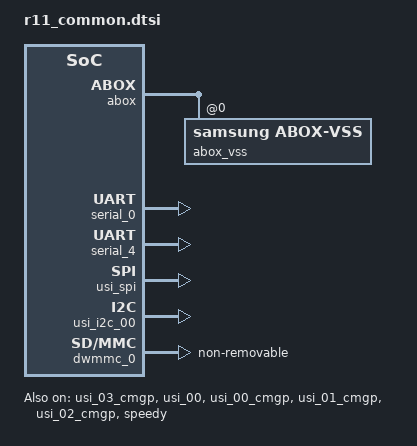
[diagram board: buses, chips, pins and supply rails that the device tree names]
/*
 * Google R11 common DTSI file
 *
 * Copyright 2020 Google LLC
 *
 * This program is free software; you can redistribute it and/or modify
 * it under the terms of the GNU General Public License version 2 and
 * only version 2 as published by the Free Software Foundation.
 *
 * This program is distributed in the hope that it will be useful,
 * but WITHOUT ANY WARRANTY; without even the implied warranty of
 * MERCHANTABILITY or FITNESS FOR A PARTICULAR PURPOSE.  See the
 * GNU General Public License for more details.
 */

#include <dt-bindings/input/input.h>

&abox {
	/* Enable vss again */
	#address-cells = <2>;
	#size-cells = <1>;
	samsung,abox-bootargs = "init=ab0x vss=1 offload=1";
	abox_vss@0 {
		compatible = "samsung,abox-vss";
		magic_offset = <0x300000>;
		reg = <0x0 0x0 0x0>;
	};
};

&serial_0 {
	status = "okay";
};

&serial_4 {
	status = "okay";
};

&uart4_bus_single  {
	samsung,pins = "gpm12-0", "gpm13-0";
};

/* uart4 */
&usi_03_cmgp {
	usi_v2_mode = "uart";
	status = "okay";
};

/* uart5 */
&usi_00 {
	usi_v2_mode = "uart";
	status = "ok";
};

/* spi0 */
&usi_00_cmgp {
	usi_v2_mode = "spi";
	status = "ok";
};

/* spi1 */
&usi_01_cmgp {
	usi_v2_mode = "spi";
	status = "ok";
};

/* spi4 */
&usi_spi {
	usi_v2_mode = "spi";
	status = "ok";
};

/* hsi2c4 */
&usi_02_cmgp {
	usi_v2_mode = "i2c";
	status = "ok";
};

/* hsi2c8 */
&usi_i2c_00 {
	usi_v2_mode = "i2c";
	status = "ok";
};

&pinctrl_0 {
	pmic_irq: pmic-irq {
		samsung,pins = "gpa0-0";
		samsung,pin-pud = <3>;
		samsung,pin-drv = <3>;
	};
};

&pinctrl_1 {
	key_sidebutton: key-sidebutton {
		samsung,pins = "gpm22-0";
		samsung,pin-function = <0xf>;
		samsung,pin-pud = <0x3>;
	};
};

&hsi2c4_bus {
	samsung,pin-pud-pdn = <0>;
};

&i2c3_bus {
	samsung,pin-pud-pdn = <0>;
};

&sd0_cmd {
	samsung,pin-pud-pdn = <0>;
};

&sd0_hwrst {
	samsung,pin-pud-pdn = <0>;
};

&i2c0_bus {
	samsung,pin-pud-pdn = <0>;
};

&i2c1_bus {
	samsung,pin-pud-pdn = <0>;
};

&i2c2_bus {
	samsung,pin-pud-pdn = <0>;
};

&hsi2c8_bus {
	samsung,pin-pud-pdn = <0>;
};

&pinctrl_5 {
	pm_wrsti: pm_wrsti {
		samsung,pins = "gpg7-1";
		samsung,pin-function = <0x1>;
		samsung,pin-pud = <0>;
		samsung,pin-con-pdn = <3>;
		samsung,pin-pud-pdn = <0>;
	};
};

&cpufreq_domain0 {
	min-freq = <449000>;

	dm-constraints {
		mif-perf {
			/*  cpu     mif  */
			table = < 1144000 1539000
				  1099000 1539000
				  1014000 1352000
				   904000 1014000
				   839000 1014000
				   754000 1014000
				   676000  676000
				   598000  676000
				   449000  676000
				   299000       0
				   208000       0
				   >;
		};
	};
};

&speedy {
	#address-cells = <1>;
	#size-cells = <0>;
	status = "okay";
	/*
	* The document S2MPW02X02_Data Sheet_6030_ALL_REV 1.2.pdf justifies the
	* below parameters. You can find it here:
	* https://drive.google.com/corp/drive/u/0/folders/1oJWggugDl7EeUM3SbeKJ1Y6b1tvxxeSs
	*/
	audio_codec_cod9005x: cod9005x@03 {
		#sound-dai-cells = <0>;
		compatible = "codec,cod9005x";
		/* 0x03 was copied from the DT of the reference platform. It should be
		   the same for r11, because the whole PMIC block is the same. */
		reg = <0x03>;
		i2c-speedy-address;
		/* section "3.7 CODEC" of the S2MPW02X02 datasheet specifies that LDO 27
		   is used to control the Mic. */
		vdd-supply = <&ldo27_reg>;
		pinctrl-names = "default";
		/* r10 used voltage 1.8 for the Mic. Same Mic is used in r11, so
		   the same voltage should be used.
		   The S2MPW02X02 datasheet, page 147, contains:
		   "Table 26  Voltage Table for (P) LDO 2, 4, 13, 17, 18, 21, 24, 26, 27".
		   The table points out that 0x2C value corresponds to 1.8 voltage level.
		*/
		mic-bias-ldo-voltage = <0x2C>;
		/* Consider to set avc-slope-param1/2 to non default values if
		   the codec doesn't work. */
	};
	s2mpw02mfd@00 {
		compatible = "samsung,s2mpw02mfd";
		acpm-ipc-channel = <2>;
		i2c-speedy-address;
		s2mpw02,wakeup = "enabled";
		s2mpw02,irq-gpio = <&gpa0 0 0>;
		reg = <0x00>;
		interrupts = <0 0 0>;
		interrupt-parent = <&gpa0>;
		pinctrl-names = "default";
		pinctrl-0 = <&pmic_irq &pm_wrsti>;
		/* RTC: wtsr/smpl */
		wtsr_en = "enabled"; /* watchdog timer software reset: enable */
		smpl_en = "enabled"; /* sudden momentery power loss: enable */
		wtsr_timer_val = <3>; /* 1000ms */
		smpl_timer_val = <4>; /* 500ms */
		check_jigon = <0>; /* do not check jigon */
		/* RTC: If it's first boot, reset rtc to 1/1/2018 12:00:00(Wed) */
		init_time,sec = <0>;
		init_time,min = <0>;
		init_time,hour = <12>;
		init_time,mday = <1>;
		init_time,mon = <0>;
		init_time,year = <118>;
		init_time,wday = <1>;
		s2mpw02-keys {
			button@1 {
				label = "pmic-keys: KEY_POWER";
				linux,code = <KEY_POWER>;
				wakeup = <1>;
			};
		};

		s2mpw02-charger {
			battery,charger_name = "s2mpw02-charger";
			battery,chg_float_voltage = <4200>;
		};

		s2mpw02-fuelgauge {
			fuelgauge,fuel_int = <&gpa0 4 0>;
			/* SoC at which fuelgauge sends irq */
			fuelgauge,fuel_alert_soc = <1>;
			/* Scale capacity units to 0.1% */
			fuelgauge,capacity_max = <1000>;
			fuelgauge,capacity_max_margin = <70>;
			fuelgauge,capacity_min = <0>;
			/* ATOMIC */
			fuelgauge,capacity_calculation_type = <0x8>;
		};

		regulators: regulators {
			buck1_reg: BUCK1 {
				regulator-name = "vdd_soc";
				regulator-min-microvolt = <500000>;
				regulator-max-microvolt = <1200000>;
				regulator-always-on;
				regulator-boot-on;
				regulator-ramp-delay = <12000>;
				regulator-initial-mode = <1>;
			};
			buck2_reg: BUCK2 {
				regulator-name = "vdd_lldo";
				regulator-min-microvolt = <800000>;
				regulator-max-microvolt = <1500000>;
				regulator-always-on;
				regulator-boot-on;
				regulator-ramp-delay = <12000>;
				regulator-initial-mode = <3>;
			};
			buck3_reg: BUCK3 {
				regulator-name = "vdd_mldo";
				regulator-min-microvolt = <1800000>;
				regulator-max-microvolt = <2100000>;
				regulator-always-on;
				regulator-boot-on;
				regulator-ramp-delay = <12000>;
				regulator-initial-mode = <3>;
			};
			bst1_reg: BST1 {
				regulator-name = "vdd_hrm";
				regulator-min-microvolt = <4900000>;
				regulator-max-microvolt = <4900000>;
			};
			bst2_reg: BST2 {
				regulator-name = "vdd_codec";
				regulator-min-microvolt = <4900000>;
				regulator-max-microvolt = <5100000>;
			};
			ldo1_reg: LDO1 {
				regulator-name = "vdd_ldo1";
				regulator-min-microvolt = <700000>;
				regulator-max-microvolt = <1300000>;
				regulator-always-on;
				regulator-boot-on;
				regulator-ramp-delay = <12000>;
				regulator-initial-mode = <3>;
			};
			ldo2_reg: LDO2 {
				regulator-name = "vdd_ldo2";
				regulator-min-microvolt = <700000>;
				regulator-max-microvolt = <1950000>;
				regulator-always-on;
				regulator-boot-on;
				regulator-ramp-delay = <12000>;
				regulator-initial-mode = <3>;
			};
			ldo3_reg: LDO3 {
				regulator-name = "vdd_ldo3";
				regulator-min-microvolt = <700000>;
				regulator-max-microvolt = <1300000>;
				regulator-always-on;
				regulator-boot-on;
				regulator-ramp-delay = <12000>;
				regulator-initial-mode = <1>;
			};
			ldo4_reg: LDO4 {
				regulator-name = "vdd_ldo4";
				regulator-min-microvolt = <700000>;
				regulator-max-microvolt = <1950000>;
				regulator-always-on;
				regulator-boot-on;
				regulator-ramp-delay = <12000>;
				regulator-initial-mode = <1>;
			};
			ldo5_reg: LDO5 {
				regulator-name = "vdd_ldo5";
				regulator-min-microvolt = <700000>;
				regulator-max-microvolt = <1300000>;
				regulator-always-on;
				regulator-boot-on;
				regulator-ramp-delay = <12000>;
				regulator-initial-mode = <3>;
			};
			ldo6_reg: LDO6 {
				regulator-name = "vdd_ldo6";
				regulator-min-microvolt = <500000>;
				regulator-max-microvolt = <1287500>;
				regulator-always-on;
				regulator-boot-on;
				regulator-ramp-delay = <12000>;
				regulator-initial-mode = <1>;
			};
			ldo7_reg: LDO7 {
				regulator-name = "vdd_ldo7";
				regulator-min-microvolt = <700000>;
				regulator-max-microvolt = <1300000>;
				regulator-always-on;
				regulator-boot-on;
				regulator-ramp-delay = <12000>;
				regulator-initial-mode = <1>;
			};
			ldo8_reg: LDO8 {
				regulator-name = "vdd_ldo8";
				regulator-min-microvolt = <500000>;
				regulator-max-microvolt = <1300000>;
				regulator-always-on;
				regulator-boot-on;
				regulator-ramp-delay = <12000>;
				regulator-initial-mode = <1>;
			};
			ldo9_reg: LDO9 {
				regulator-name = "vdd_ldo9";
				regulator-min-microvolt = <700000>;
				regulator-max-microvolt = <1300000>;
				regulator-ramp-delay = <12000>;
				regulator-initial-mode = <1>;
			};
			ldo10_reg: LDO10 {
				regulator-name = "vdd_ldo10";
				regulator-min-microvolt = <3300000>;
				regulator-max-microvolt = <3300000>;
				regulator-always-on;
				regulator-boot-on;
				regulator-ramp-delay = <12000>;
				regulator-initial-mode = <1>;
			};
			ldo15_reg: LDO15 {
				regulator-name = "vdd_ldo15";
				regulator-min-microvolt = <700000>;
				regulator-max-microvolt = <1300000>;
				regulator-ramp-delay = <12000>;
				regulator-initial-mode = <0>;
			};
			ldo16_reg: LDO16 {
				regulator-name = "vdd_ldo16";
				regulator-min-microvolt = <2450000>;
				regulator-max-microvolt = <2450000>;
				regulator-always-on;
				regulator-ramp-delay = <12000>;
				regulator-initial-mode = <3>;
			};
			ldo18_reg: LDO18 {
				regulator-name = "vemmc";
				regulator-min-microvolt = <800000>;
				regulator-max-microvolt = <1950000>;
				regulator-ramp-delay = <12000>;
				regulator-always-on;
				regulator-boot-on;
				regulator-initial-mode = <1>;
			};
			ldo19_reg: LDO19 {
				regulator-name = "vqemmc";
				regulator-min-microvolt = <1800000>;
				regulator-max-microvolt = <3375000>;
				regulator-ramp-delay = <12000>;
				regulator-always-on;
				regulator-boot-on;
				regulator-initial-mode = <1>;
			};
			ldo20_reg: LDO20 {
				regulator-name = "vdd_ldo20";
				regulator-min-microvolt = <1800000>;
				regulator-max-microvolt = <3375000>;
				regulator-ramp-delay = <12000>;
				regulator-initial-mode = <3>;
			};
			ldo21_reg: LDO21 {
				regulator-name = "vdd_ldo21";
				regulator-min-microvolt = <700000>;
				regulator-max-microvolt = <1950000>;
				regulator-ramp-delay = <12000>;
				regulator-initial-mode = <3>;
			};
			ldo22_reg: LDO22 {
				regulator-name = "vdd_ldo22";
				regulator-min-microvolt = <1800000>;
				regulator-max-microvolt = <3375000>;
				regulator-ramp-delay = <12000>;
				regulator-initial-mode = <0>;
			};
			ldo25_reg: LDO25 {
				regulator-name = "vdd_ldo25";
				regulator-min-microvolt = <1800000>;
				regulator-max-microvolt = <3375000>;
				regulator-boot-on;
				regulator-always-on;
				regulator-ramp-delay = <12000>;
				regulator-initial-mode = <3>;
			};
			ldo27_reg: LDO27 {
				regulator-name = "vdd_ldo27";
				regulator-min-microvolt = <700000>;
				regulator-max-microvolt = <1950000>;
				regulator-ramp-delay = <12000>;
			};
			ldo28_reg: LDO28 {
				regulator-name = "vdd_ldo28";
				regulator-min-microvolt = <700000>;
				regulator-max-microvolt = <1300000>;
				regulator-ramp-delay = <12000>;
				regulator-initial-mode = <0>;
			};
			ldo29_reg: LDO29 {
				regulator-name = "vdd_ldo29";
				regulator-min-microvolt = <1800000>;
				regulator-max-microvolt = <3375000>;
				regulator-ramp-delay = <12000>;
				regulator-initial-mode = <0>;
			};
			ldo30_reg: LDO30 {
				regulator-name = "vdd_ldo30";
				regulator-min-microvolt = <700000>;
				regulator-max-microvolt = <1300000>;
				regulator-ramp-delay = <12000>;
				regulator-initial-mode = <0>;
			};
		};
	};
};

/* dwmmc_0 was copied from the DT of the reference platform. It should be
	 mostly the same for r11. */
&dwmmc_0 {
	#address-cells = <1>;
	#size-cells = <0>;
	status = "okay";
	num-slots = <1>;
	broken-cd;
	fixed_voltage;
	supports-highspeed;
	mmc-ddr-1_8v;
	mmc-hs200-1_8v;
	mmc-hs400-1_8v;
	mmc-hs400-enhanced-strobe;
	supports-8bit;
	supports-cmd23;
	supports-erase;
	card-init-hwacg-ctrl;
	enable-ulp-mode;
	emmc-pwr-suspend = <1>;
	emmc-dis-charge-time = <30>;
	fifo-depth = <0x40>;
	non-removable;
	desc-size = <4>;
	card-detect-delay = <200>;
	data-timeout = <200>;
	hto-timeout = <80>;
	samsung,dw-mshc-ciu-div = <3>;
	samsung,dw-mshc-txdt-crc-timer-fastlimit = <0x13>;
	samsung,dw-mshc-txdt-crc-timer-initval = <0x15>;
	samsung,dw-mshc-ulp-txdt-crc-timer-fastlimit = <0x34>;
	samsung,dw-mshc-ulp-txdt-crc-timer-initval = <0x38>;
	samsung,dw-mshc-hs400-delay-line = <0x60>;
	samsung,dw-mshc-sdr-timing = <3 0 4 0>;
	samsung,dw-mshc-ddr-timing = <3 0 4 2>;
	samsung,dw-mshc-hs200-timing = <3 0 3 0>;
	samsung,dw-mshc-hs400-timing = <1 0 4 0>;
	samsung,dw-mshc-hs400-ulp-timing = <3 0 4 0>;

	num-ref-clks = <12>;
	ciu_clkin = <25 50 50 25 50 100 200 50 50 200 200 200>;

	clk-drive-number = <4>;
	pinctrl-names = "default",
		"fast-slew-rate-1x",
		"fast-slew-rate-2x",
		"fast-slew-rate-3x",
		"fast-slew-rate-4x",
		"pdn-default";
	pinctrl-0 = <&sd0_clk &sd0_cmd &sd0_rdqs &sd0_hwrst &sd0_bus1 &sd0_bus4 &sd0_bus8>;
	pinctrl-1 = <&sd0_clk_fast_slew_rate_1x>;
	pinctrl-2 = <&sd0_clk_fast_slew_rate_2x>;
	pinctrl-3 = <&sd0_clk_fast_slew_rate_3x>;
	pinctrl-4 = <&sd0_clk_fast_slew_rate_4x>;
	pinctrl-5 = <&sd0_pdn_clk &sd0_pdn_cmd &sd0_pdn_rdqs
		     &sd0_pdn_hwrst &sd0_pdn_bus1 &sd0_pdn_bus4 &sd0_pdn_bus8>;
	slot@0 {
		reg = <0>;
		bus-width = <8>;
	};
};

/* disable unused reserved memory */
&chub_rmem {
	status = "disabled";
};

&gnss_rmem {
	status = "disabled";
};
